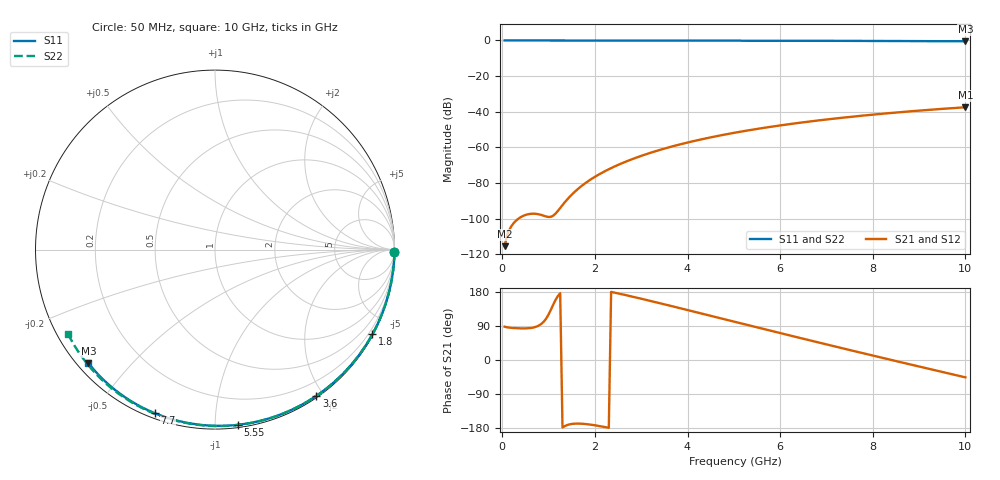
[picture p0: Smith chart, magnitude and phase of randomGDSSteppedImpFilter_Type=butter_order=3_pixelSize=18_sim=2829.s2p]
! freq	dB(S11)	phase(S11)	dB(S12)	phase(S12)
!  dB(S21)	phase(S21)	dB(S22)	phase(S22)
!S-par simulation data
#  GHz  S  DB  R 50
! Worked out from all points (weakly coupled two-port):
!   200 points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, 50 MHz to 10 GHz, reference 50 ohm
!   highest |S21| = -37.51 dB at 10 GHz (marker M1); lowest = -115.5 dB at 50 MHz (marker M2)
!   lowest |S11| = -0.5 dB at 10 GHz (marker M3), VSWR 37.10, Z = 1.55 - j19.1 ohm
!   |S11| at or under -10 dB: nowhere
!   |S22| runs from -0.5 to 0.0 dB; largest |S21 - S12| = 0
!   S11 on the Smith chart (normalised r, x): 50 MHz: open; 1.8 GHz: 0.03, -3.96; 3.6 GHz: 0.02, -1.91; 5.55 GHz: 0.02, -1.14; 7.7 GHz: 0.02, -0.70; 10 GHz: 0.03, -0.38
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0.05  -0.00 -0.8  -115.50 87.9  -115.50 87.9  -0.00 -0.9
0.45  -0.01 -7.2  -98.51 83.3  -98.51 83.3  -0.01 -7.8
0.9  -0.02 -14.3  -98.46 101.8  -98.46 101.8  -0.02 -15.5
1.3  -0.03 -20.6  -92.42 -178.3  -92.42 -178.3  -0.03 -22.2
1.75  -0.04 -27.5  -80.95 -168.4  -80.95 -168.4  -0.04 -29.8
1.8  -0.04 -28.3  -79.99 -169.0  -79.99 -169.0  -0.04 -30.6
1.95  -0.04 -30.6  -77.36 -171.3  -77.36 -171.3  -0.04 -33.1
2.1  -0.04 -32.9  -75.05 -174.4  -75.05 -174.4  -0.05 -35.6
2.3  -0.05 -36.0  -72.31 -179.1  -72.31 -179.1  -0.05 -38.9
2.5  -0.05 -39.0  -69.88 175.8  -69.88 175.8  -0.05 -42.1
2.9  -0.06 -45.0  -65.72 164.6  -65.72 164.6  -0.06 -48.6
3.4  -0.07 -52.4  -61.47 149.9  -61.47 149.9  -0.07 -56.6
3.6  -0.07 -55.3  -59.99 143.9  -59.99 143.9  -0.08 -59.7
4.3  -0.09 -65.3  -55.52 122.7  -55.52 122.7  -0.10 -70.5
5.05  -0.12 -75.8  -51.65 99.9  -51.65 99.9  -0.13 -81.7
5.55  -0.14 -82.5  -49.47 84.7  -49.47 84.7  -0.15 -89.0
6.1  -0.16 -89.8  -47.34 68.0  -47.34 68.0  -0.17 -96.8
6.7  -0.19 -97.6  -45.30 50.1  -45.30 50.1  -0.20 -105.3
7.7  -0.25 -110.2  -42.42 20.5  -42.42 20.5  -0.27 -119.0
8.35  -0.30 -118.2  -40.82 1.5  -40.82 1.5  -0.33 -127.8
9.2  -0.38 -128.5  -38.99 -22.9  -38.99 -22.9  -0.41 -139.2
10  -0.47 -138.1  -37.51 -45.8  -37.51 -45.8  -0.50 -150.1
